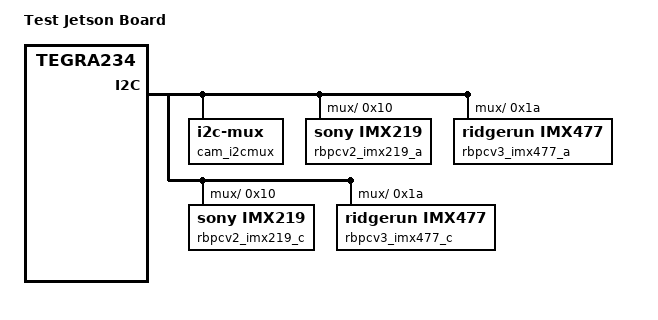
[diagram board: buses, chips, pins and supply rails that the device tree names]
// Base DTB — both IMX219 and IMX477 nodes, ACTIVE
/dts-v1/;
/ {
	compatible = "nvidia,tegra234";
	model = "Test Jetson Board";

	cam_i2cmux {
		#address-cells = <1>;
		#size-cells = <0>;

		i2c@0 {
			#address-cells = <1>;
			#size-cells = <0>;

			rbpcv2_imx219_a@10 {
				compatible = "sony,imx219";
				reg = <0x10>;
			};

			rbpcv3_imx477_a@1a {
				compatible = "ridgerun,imx477";
				reg = <0x1a>;
			};
		};

		i2c@1 {
			#address-cells = <1>;
			#size-cells = <0>;

			rbpcv2_imx219_c@10 {
				compatible = "sony,imx219";
				reg = <0x10>;
			};

			rbpcv3_imx477_c@1a {
				compatible = "ridgerun,imx477";
				reg = <0x1a>;
			};
		};
	};
};
